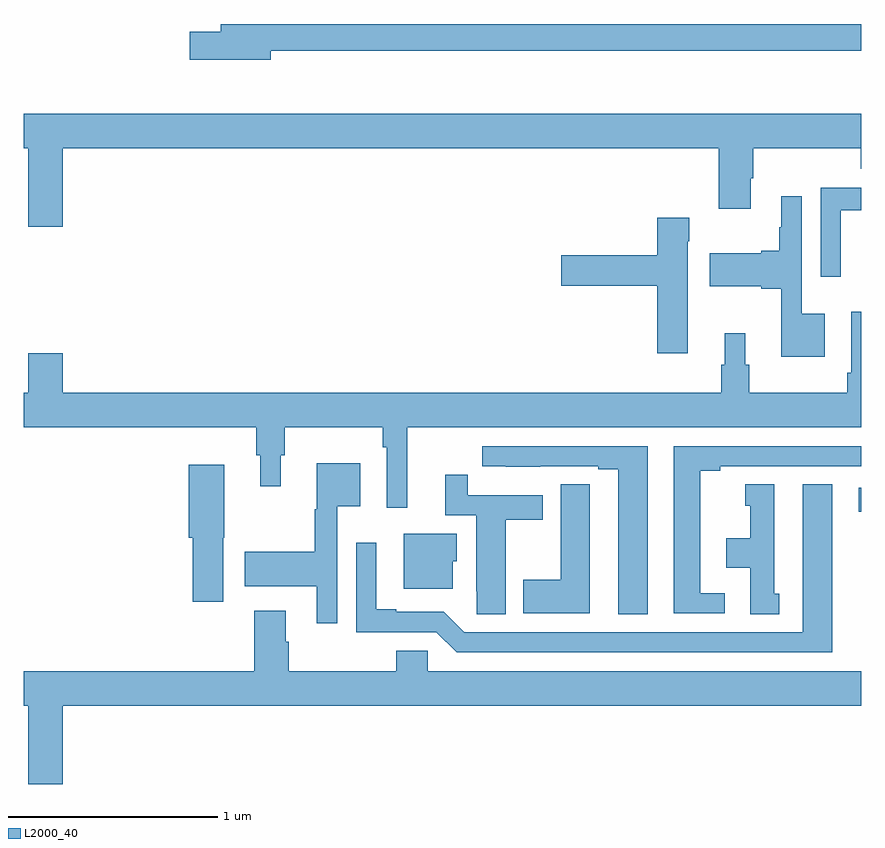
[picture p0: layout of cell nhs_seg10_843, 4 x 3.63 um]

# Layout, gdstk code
import gdstk
lib = gdstk.Library(unit=1e-6, precision=1e-09)
def R(c, l, rs):  # rectangles x0, y0, x1, y1
    for r in rs: c.add(gdstk.rectangle(r[:2], r[2:], *l))
def P(c, l, *ps):  # polygons
    for p in ps: c.add(gdstk.Polygon(p, *l))
L2000_40 = (2000, 40)

nhs_seg10_843 = lib.new_cell('nhs_seg10_843')
R(nhs_seg10_843, L2000_40, [(156.99,1295.914,157,1296.03)])
P(nhs_seg10_843, L2000_40, [(154.18,1298.118),(157,1298.118),(157,1298.246),(153.941,1298.246),(153.941,1298.21),(153.792,1298.21),(153.792,1298.075),(154.18,1298.075)],
  [(153.184,1297.652),(156.32,1297.652),(156.32,1297.362),(156.472,1297.362),(156.472,1297.51),(156.485,1297.51),(156.485,1297.652),(156.998,1297.652),(156.998,1297.554),(157,1297.554),(157,1297.816),(153,1297.816),(153,1297.652),(153.02,1297.652),(153.02,1297.278),(153.184,1297.278)],
  [(156.904,1297.356),(157,1297.356),(157,1297.464),(156.807,1297.464),(156.807,1297.038),(156.904,1297.038)],
  [(156.826,1296.862),(156.717,1296.862),(156.717,1297.423),(156.62,1297.423),(156.62,1297.274),(156.609,1297.274),(156.609,1297.163),(156.524,1297.163),(156.524,1297.15),(156.276,1297.15),(156.276,1296.992),(156.524,1296.992),(156.524,1296.98),(156.62,1296.98),(156.62,1296.656),(156.826,1296.656)],
  [(156.172,1297.208),(156.18,1297.208),(156.18,1297.321),(156.026,1297.321),(156.026,1297.142),(155.568,1297.142),(155.568,1296.995),(156.026,1296.995),(156.026,1296.672),(156.172,1296.672)],
  [(154.832,1296.32),(157,1296.32),(157,1296.871),(156.954,1296.871),(156.954,1296.58),(156.934,1296.58),(156.934,1296.484),(156.467,1296.484),(156.467,1296.618),(156.448,1296.618),(156.448,1296.769),(156.35,1296.769),(156.35,1296.618),(156.331,1296.618),(156.331,1296.484),(153.184,1296.484),(153.184,1296.673),(153.02,1296.673),(153.02,1296.484),(153,1296.484),(153,1296.32),(154.111,1296.32),(154.111,1296.186),(154.13,1296.186),(154.13,1296.036),(154.228,1296.036),(154.228,1296.186),(154.247,1296.186),(154.247,1296.32),(154.714,1296.32),(154.714,1296.224),(154.734,1296.224),(154.734,1295.934),(154.832,1295.934)],
  [(155.98,1296.228),(155.19,1296.228),(155.19,1296.132),(155.302,1296.132),(155.302,1296.131),(155.468,1296.131),(155.468,1296.132),(155.744,1296.132),(155.744,1296.117),(155.84,1296.117),(155.84,1295.425),(155.98,1295.425)],
  [(156.349,1295.526),(156.232,1295.526),(156.232,1296.112),(156.328,1296.112),(156.328,1296.132),(157,1296.132),(157,1296.228),(156.104,1296.228),(156.104,1295.43),(156.349,1295.43)],
  [(154.497,1295.942),(154.606,1295.942),(154.606,1296.148),(154.4,1296.148),(154.4,1295.928),(154.389,1295.928),(154.389,1295.724),(154.056,1295.724),(154.056,1295.558),(154.4,1295.558),(154.4,1295.382),(154.497,1295.382)],
  [(153.952,1295.79),(153.958,1295.79),(153.958,1296.139),(153.788,1296.139),(153.788,1295.79),(153.806,1295.79),(153.806,1295.484),(153.952,1295.484)],
  [(155.302,1295.878),(155.479,1295.878),(155.479,1295.994),(155.12,1295.994),(155.12,1296.091),(155.012,1296.091),(155.012,1295.898),(155.162,1295.898),(155.162,1295.536),(155.163,1295.536),(155.163,1295.425),(155.302,1295.425)],
  [(155.704,1295.939),(155.703,1295.939),(155.703,1296.047),(155.564,1296.047),(155.564,1295.589),(155.387,1295.589),(155.387,1295.429),(155.704,1295.429)],
  [(156.61,1295.523),(156.586,1295.523),(156.586,1296.046),(156.446,1296.046),(156.446,1295.943),(156.47,1295.943),(156.47,1295.788),(156.356,1295.788),(156.356,1295.648),(156.47,1295.648),(156.47,1295.425),(156.61,1295.425)],
  [(156.862,1296.046),(156.722,1296.046),(156.722,1295.34),(155.103,1295.34),(155.007,1295.436),(154.78,1295.436),(154.78,1295.449),(154.684,1295.449),(154.684,1295.767),(154.587,1295.767),(154.587,1295.34),(154.971,1295.34),(155.067,1295.244),(156.862,1295.244)],
  [(155.05,1295.679),(155.068,1295.679),(155.068,1295.809),(154.814,1295.809),(154.814,1295.546),(155.05,1295.546)],
  [(153.184,1294.988),(157,1294.988),(157,1295.152),(154.929,1295.152),(154.929,1295.25),(154.778,1295.25),(154.778,1295.152),(154.265,1295.152),(154.265,1295.294),(154.252,1295.294),(154.252,1295.443),(154.1,1295.443),(154.1,1295.152),(153,1295.152),(153,1294.988),(153.02,1294.988),(153.02,1294.614),(153.184,1294.614)])

lib.write_gds('nhs_seg10_843.gds')
